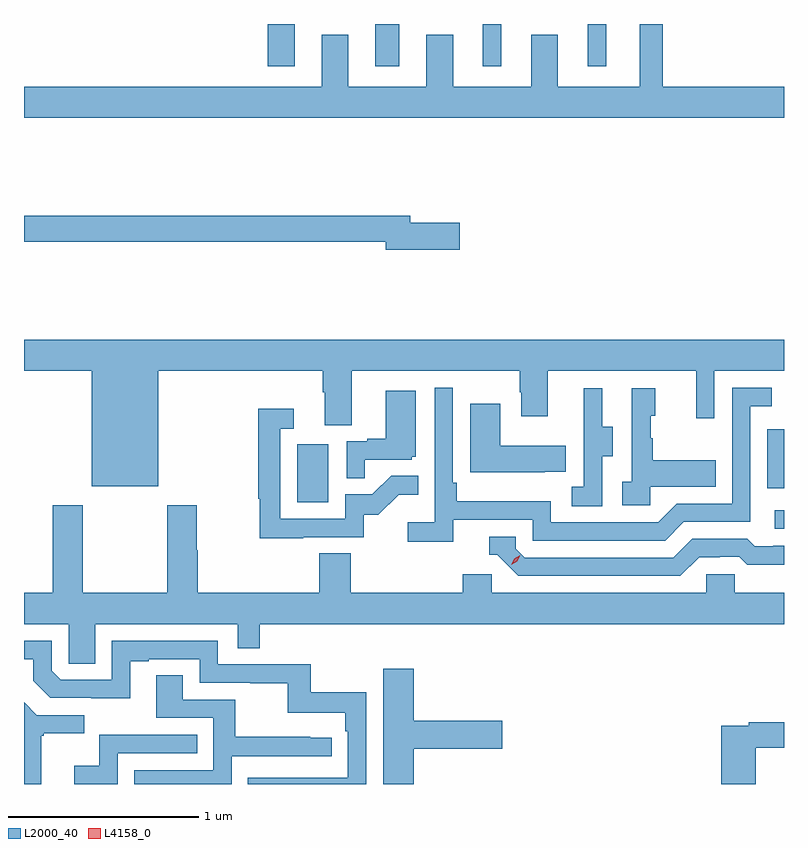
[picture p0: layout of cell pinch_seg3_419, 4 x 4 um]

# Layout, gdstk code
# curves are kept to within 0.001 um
import gdstk
lib = gdstk.Library(unit=1e-6, precision=1e-09)
def R(c, l, rs):  # rectangles x0, y0, x1, y1
    for r in rs: c.add(gdstk.rectangle(r[:2], r[2:], *l))
def P(c, l, *ps):  # polygons
    for p in ps: c.add(gdstk.Polygon(p, *l))
L2000_40 = (2000, 40)
L4158_0 = (4158, 0)

pinch_seg3_419 = lib.new_cell('pinch_seg3_419')
R(pinch_seg3_419, L2000_40, [(938.175,693.426,938.223,693.522), (935.66,693.564,935.824,693.871), (938.136,693.639,938.223,693.948), (935.507,695.859,935.647,696.082), (936.071,695.859,936.199,696.082), (936.638,695.859,936.736,696.082), (937.19,695.859,937.288,696.082)])
P(pinch_seg3_419, L2000_40, [(938.223,695.752),(937.585,695.752),(937.585,696.082),(937.463,696.082),(937.463,695.752),(937.033,695.752),(937.033,696.025),(936.893,696.025),(936.893,695.752),(936.481,695.752),(936.481,696.025),(936.341,696.025),(936.341,695.752),(935.929,695.752),(935.929,696.025),(935.789,696.025),(935.789,695.752),(934.223,695.752),(934.223,695.588),(938.223,695.588)],
  [(936.517,695.036),(936.256,695.036),(936.256,695.072),(934.223,695.072),(934.223,694.936),(936.128,694.936),(936.128,694.894),(936.517,694.894)],
  [(934.93,694.256),(935.795,694.256),(935.795,694.144),(935.807,694.144),(935.807,693.97),(935.947,693.97),(935.947,694.256),(936.832,694.256),(936.832,694.145),(936.839,694.145),(936.839,694.017),(936.979,694.017),(936.979,694.256),(937.76,694.256),(937.76,694.008),(937.857,694.008),(937.857,694.256),(938.223,694.256),(938.223,694.42),(934.223,694.42),(934.223,694.256),(934.58,694.256),(934.58,693.65),(934.93,693.65)],
  [(936.482,693.474),(936.9,693.474),(936.9,693.363),(937.597,693.363),(937.696,693.462),(938.046,693.462),(938.046,694.071),(938.159,694.071),(938.159,694.167),(937.95,694.167),(937.95,693.558),(937.659,693.558),(937.56,693.459),(936.996,693.459),(936.996,693.571),(936.5,693.571),(936.5,693.667),(936.48,693.667),(936.48,694.168),(936.384,694.168),(936.384,693.46),(936.243,693.46),(936.243,693.358),(936.482,693.358)],
  [(937.266,693.808),(937.321,693.808),(937.321,693.963),(937.267,693.963),(937.267,694.165),(937.169,694.165),(937.169,693.951),(937.17,693.951),(937.17,693.647),(937.107,693.647),(937.107,693.544),(937.266,693.544)],
  [(937.518,693.647),(937.865,693.647),(937.865,693.787),(937.531,693.787),(937.531,693.902),(937.521,693.902),(937.521,694.02),(937.546,694.02),(937.546,694.165),(937.422,694.165),(937.422,693.674),(937.371,693.674),(937.371,693.549),(937.518,693.549)],
  [(936.017,693.789),(936.264,693.789),(936.264,693.804),(936.286,693.804),(936.286,694.153),(936.128,694.153),(936.128,693.898),(936.029,693.898),(936.029,693.885),(935.922,693.885),(935.922,693.691),(936.017,693.691)],
  [(936.965,693.725),(937.073,693.725),(937.073,693.862),(936.73,693.862),(936.73,694.084),(936.572,694.084),(936.572,693.722),(936.965,693.722)],
  [(935.693,693.381),(936.012,693.381),(936.012,693.498),(936.088,693.498),(936.195,693.605),(936.299,693.605),(936.299,693.704),(936.155,693.704),(936.057,693.606),(935.913,693.606),(935.913,693.477),(935.571,693.477),(935.571,693.951),(935.644,693.951),(935.644,694.057),(935.455,694.057),(935.455,693.584),(935.463,693.584),(935.463,693.376),(935.693,693.376)],
  [(934.597,692.924),(935.349,692.924),(935.349,692.797),(935.465,692.797),(935.465,692.924),(938.223,692.924),(938.223,693.088),(937.965,693.088),(937.965,693.186),(937.815,693.186),(937.815,693.088),(936.684,693.088),(936.684,693.186),(936.533,693.186),(936.533,693.088),(935.942,693.088),(935.942,693.296),(935.777,693.296),(935.777,693.088),(935.138,693.088),(935.138,693.311),(935.133,693.311),(935.133,693.55),(934.978,693.55),(934.978,693.088),(934.533,693.088),(934.533,693.55),(934.373,693.55),(934.373,693.088),(934.223,693.088),(934.223,692.924),(934.458,692.924),(934.458,692.716),(934.597,692.716)],
  [(937.777,693.276),(937.884,693.276),(937.884,693.279),(937.987,693.279),(938.029,693.237),(938.223,693.237),(938.223,693.336),(938.167,693.336),(938.167,693.333),(938.068,693.333),(938.029,693.372),(937.74,693.372),(937.641,693.273),(936.858,693.273),(936.81,693.321),(936.81,693.384),(936.671,693.384),(936.671,693.288),(936.714,693.288),(936.825,693.177),(937.678,693.177)],
  [(936.024,692.566),(935.731,692.566),(935.731,692.712),(935.244,692.712),(935.244,692.835),(934.686,692.835),(934.686,692.631),(934.416,692.631),(934.368,692.679),(934.368,692.835),(934.223,692.835),(934.223,692.739),(934.272,692.739),(934.272,692.625),(934.362,692.535),(934.783,692.534),(934.783,692.727),(934.879,692.727),(934.879,692.739),(935.148,692.739),(935.148,692.616),(935.413,692.616),(935.413,692.611),(935.61,692.611),(935.61,692.456),(935.915,692.456),(935.915,692.36),(935.928,692.36),(935.928,692.115),(935.401,692.116),(935.401,692.082),(936.024,692.082)],
  [(936.274,692.267),(936.739,692.267),(936.739,692.414),(936.274,692.414),(936.274,692.689),(936.113,692.689),(936.113,692.082),(936.274,692.082)],
  [(935.316,692.229),(935.842,692.229),(935.842,692.325),(935.729,692.325),(935.729,692.33),(935.336,692.33),(935.336,692.526),(935.059,692.526),(935.059,692.654),(934.919,692.654),(934.919,692.43),(935.22,692.43),(935.22,692.154),(934.804,692.154),(934.804,692.082),(935.316,692.082)],
  [(934.315,692.337),(934.327,692.337),(934.327,692.348),(934.54,692.348),(934.54,692.445),(934.29,692.445),(934.223,692.512),(934.223,692.082),(934.315,692.082)],
  [(938.075,692.272),(938.223,692.272),(938.223,692.408),(938.038,692.408),(938.038,692.388),(937.892,692.388),(937.892,692.082),(938.075,692.082)],
  [(934.716,692.244),(935.135,692.244),(935.135,692.34),(934.62,692.34),(934.62,692.179),(934.487,692.179),(934.487,692.082),(934.716,692.082)])
P(pinch_seg3_419, L4158_0, [(936.787,693.235),(936.787,693.235),(936.804,693.267),(936.834,693.286),(936.835,693.286),(936.835,693.286),(936.818,693.254),(936.788,693.235)])

lib.write_gds('pinch_seg3_419.gds')
